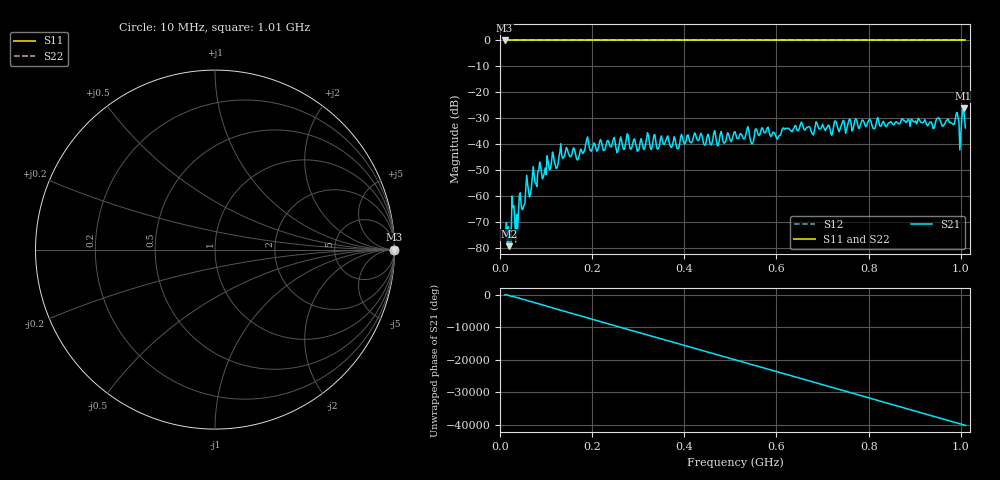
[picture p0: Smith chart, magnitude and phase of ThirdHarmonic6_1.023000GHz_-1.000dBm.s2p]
! 8/16/2025 8:37:10 AM
! C:\ANRITSUVNA\TEMP\TEMP.S2P
! CHANNEL.1
! TR.MEASUREMENT
! RAW.DATA
! RF.CORRECTION.OFF
! AVERAGING.OFF
! IF.BANDWIDTH: 5KHZ
! SWEEPTYPE:  FREQ.SWEEP(Linear)
! Reference Plane Port Info
! PORT:  PORT1  PORT2
! DISTANCE:  0  m  0  m
! TIME:  0  s  0  s
! PHASE.OFFSET:  0  deg.  0  deg.
! LOSS:  0  dB  0  dB
! REF.LOSS:  0  dB  0  dB
! REF.FREQ:  0  Hz  0  Hz
! Power Info
! POWER:  -20  dBm  -20  dBm
! EFF.POWER:  -20  dBm  -20  dBm
! SOURCE.ATTEN:  0  dB  0  dB
! TEST.ATTEN:  0  dB  0  dB
# GHZ S RI R 50.0
! FREQ.GHZ  S11RE  S11IM  S21RE  S21IM  S12RE  S12IM  S22RE  S22IM
!; PortSelection: Port_12
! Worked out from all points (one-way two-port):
!   501 points, 10 MHz to 1.01 GHz, reference 50 ohm
!   highest |S21| = -26.18 dB at 1.006 GHz (marker M1); lowest = -79.3 dB at 20 MHz (marker M2)
!   lowest |S11| = 0.0 dB at 10 MHz (marker M3)
!   |S11| at or under -10 dB: nowhere
!   |S22| runs from 0.0 to 0.0 dB; largest |S21 - S12| = 1
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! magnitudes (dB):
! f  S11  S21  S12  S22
! 10 MHz  0.0  -73.6  0.0  0.0
! 20 MHz  0.0  -79.3  0.0  0.0
! 28 MHz  0.0  -64.4  0.0  0.0
! 36 MHz  0.0  -67.1  0.0  0.0
! 44 MHz  0.0  -58.8  0.0  0.0
! 50 MHz  0.0  -64.9  0.0  0.0
! 58 MHz  0.0  -52.0  0.0  0.0
! 86 MHz  0.0  -46.9  0.0  0.0
! 96 MHz  0.0  -51.2  0.0  0.0
! 132 MHz  0.0  -39.8  0.0  0.0
! 178 MHz  0.0  -43.0  0.0  0.0
! 190 MHz  0.0  -37.2  0.0  0.0
! 254 MHz  0.0  -43.2  0.0  0.0
! 276 MHz  0.0  -36.0  0.0  0.0
! 344 MHz  0.0  -41.5  0.0  0.0
! 510 MHz  0.0  -35.2  0.0  0.0
! 678 MHz  0.0  -35.9  0.0  0.0
! 844 MHz  0.0  -31.8  0.0  0.0
! 992 MHz  0.0  -27.8  0.0  0.0
! 998 MHz  0.0  -42.2  0.0  0.0
! 1.006 GHz  0.0  -26.2  0.0  0.0
! 1.01 GHz  0.0  -33.7  0.0  0.0
